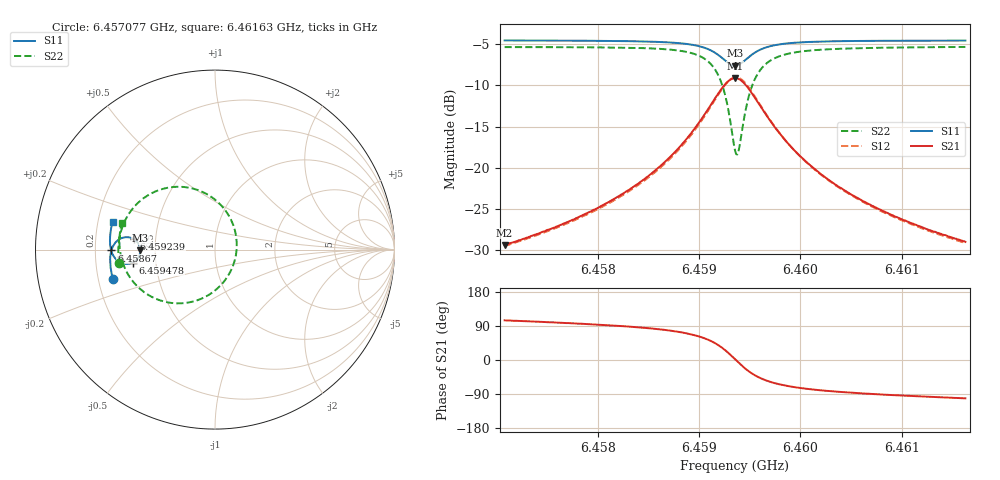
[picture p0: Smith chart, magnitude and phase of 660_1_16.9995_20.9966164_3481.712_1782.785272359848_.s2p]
#  HZ  S  RI  R  50.00
! Rohde & Schwarz Vector Network Analyzer
! Rohde-Schwarz,ZNB20-2Port,1311601062101988,3.16
! Created: UTC 3/20/2024, 11:21:43 PM
! freq[Hz]  re:S11  im:S11  re:S21  im:S21  re:S12  im:S12  re:S22  im:S22
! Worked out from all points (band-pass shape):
!   401 points, 6.457077 GHz to 6.46163 GHz, reference 50 ohm
!   highest |S21| = -9.12 dB at 6.459353 GHz (marker M1); lowest = -29.4 dB at 6.457077 GHz (marker M2)
!   |S21| within 3 dB of the highest: 6.459127 GHz to 6.459583 GHz (455.2 kHz wide, 0.00705 % of centre)
!   lowest |S11| = -7.6 dB at 6.459353 GHz (marker M3), VSWR 2.43, Z = 20.6 - j0.245 ohm
!   |S11| at or under -10 dB: nowhere
!   |S22| runs from -18.4 to -5.3 dB; largest |S21 - S12| = 0.014
!   S11 on the Smith chart (normalised r, x): 6.457077 GHz: 0.26, -0.13; 6.45867 GHz: 0.27, -0.00; 6.459239 GHz: 0.37, +0.06; 6.459478 GHz: 0.37, -0.07; 6.46163 GHz: 0.26, +0.12
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6.4570766e9  -0.5688 -0.1647  -0.00865 0.033  -0.00681 0.0328  -0.5343 -0.0761
6.4578393e9  -0.5818 -0.0975  -0.00502 0.0511  -0.00251 0.0504  -0.5383 0.0141
6.4582263e9  -0.5842 -0.0588  0.000378 0.0688  0.00377 0.0673  -0.5304 0.0751
6.458602e9  -0.5799 -0.0141  0.0154 0.0997  0.0194 0.0967  -0.5025 0.159
6.4586703e9  -0.5774 -0.0047  0.021 0.1079  0.0251 0.1046  -0.4921 0.1791
6.4588638e9  -0.5645 0.0258  0.048 0.1389  0.0521 0.1338  -0.4412 0.2482
6.4590118e9  -0.5415 0.0519  0.0938 0.1691  0.0969 0.1623  -0.3567 0.3122
6.4591484e9  -0.4975 0.0692  0.1817 0.1853  0.1823 0.1779  -0.1961 0.35
6.4592394e9  -0.4526 0.0587  0.2719 0.1537  0.272 0.1479  -0.0286 0.299
6.4593077e9  -0.4233 0.0264  0.3329 0.0813  0.3349 0.0761  0.0882 0.1684
6.4593533e9  -0.4161 -0.00491  0.3496 0.0126  0.3533 0.00597  0.1211 0.0398
6.4593874e9  -0.42 -0.0289  0.3438 -0.0405  0.3478 -0.0494  0.1098 -0.0611
6.4594329e9  -0.4358 -0.0554  0.3148 -0.1013  0.3172 -0.1133  0.0514 -0.1766
6.4594785e9  -0.4581 -0.0721  0.2722 -0.1431  0.2714 -0.1565  -0.0353 -0.2528
6.459524e9  -0.4814 -0.0792  0.227 -0.1657  0.2229 -0.179  -0.1265 -0.2903
6.4595695e9  -0.5021 -0.0792  0.1857 -0.1744  0.1793 -0.1863  -0.2079 -0.2994
6.4597175e9  -0.5465 -0.0584  0.0962 -0.16  0.0877 -0.1663  -0.3785 -0.248
6.4598769e9  -0.5683 -0.0305  0.051 -0.131  0.0431 -0.1338  -0.4599 -0.1742
6.4601159e9  -0.5809 0.00516  0.0215 -0.0987  0.0156 -0.0993  -0.5076 -0.0903
6.4604688e9  -0.5852 0.0474  0.00522 -0.0707  0.00129 -0.0701  -0.5289 -0.00799
6.4608786e9  -0.5829 0.0886  -0.00201 -0.0525  -0.00483 -0.0516  -0.5323 0.0581
6.4616299e9  -0.5704 0.1553  -0.00694 -0.0349  -0.00865 -0.034  -0.5202 0.1478
